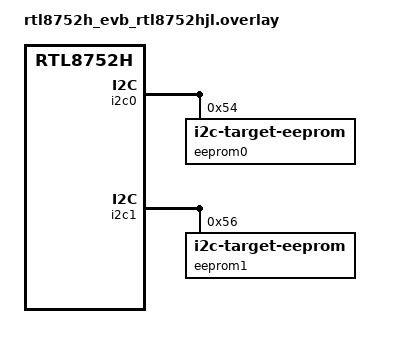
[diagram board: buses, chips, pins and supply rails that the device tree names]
/*
 * Copyright (c) 2026, Realtek Semiconductor Corporation
 *
 * SPDX-License-Identifier: Apache-2.0
 */

/*
 * The Bee I2C controller cannot act as controller and target at the same
 * time, so this test runs in single-role mode: i2c0 and i2c1 are two
 * independent buses that must be wired together on the board
 * (SCL0-SCL1 and SDA0-SDA1 shorted, the "i2c_bus_short" fixture).
 *
 * i2c0: SCL = P0_2, SDA = P0_4
 * i2c1: SCL = P0_6, SDA = P0_7
 */

&i2c0 {
	pinctrl-0 = <&i2c0_default>;
	pinctrl-names = "default";
	status = "okay";

	eeprom0: eeprom@54 {
		compatible = "zephyr,i2c-target-eeprom";
		reg = <0x54>;
		address-width = <8>;
		size = <256>;
	};
};

&i2c1 {
	pinctrl-0 = <&i2c1_default>;
	pinctrl-names = "default";
	status = "okay";

	eeprom1: eeprom@56 {
		compatible = "zephyr,i2c-target-eeprom";
		reg = <0x56>;
		address-width = <8>;
		size = <256>;
	};
};

&pinctrl {
	i2c0_default: i2c0_default {
		group1 {
			psels = <BEE_PSEL(I2C0_CLK, P0_2)>,
				<BEE_PSEL(I2C0_DAT, P0_4)>;
			output-enable;
			output-high;
			bias-pull-up;
		};
	};

	i2c1_default: i2c1_default {
		group1 {
			psels = <BEE_PSEL(I2C1_CLK, P0_0)>,
				<BEE_PSEL(I2C1_DAT, P0_1)>;
			output-enable;
			output-high;
			bias-pull-up;
		};
	};
};
